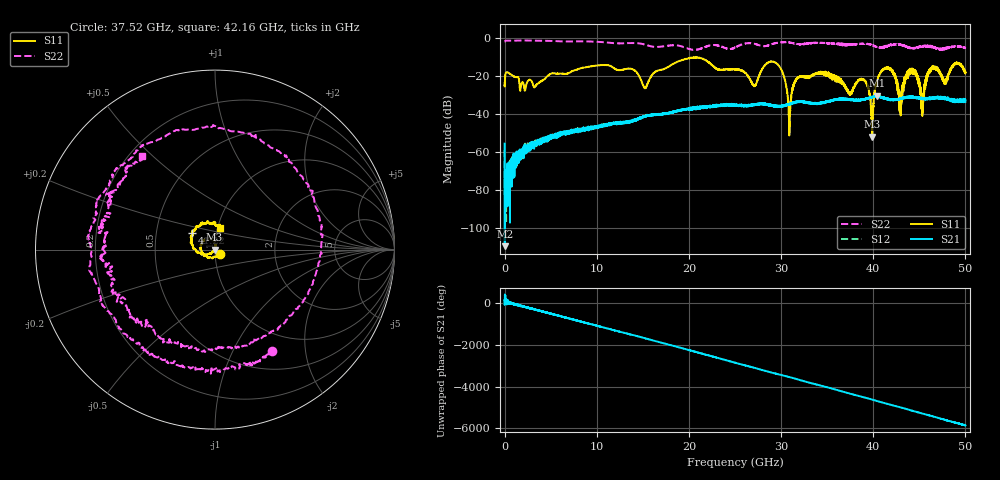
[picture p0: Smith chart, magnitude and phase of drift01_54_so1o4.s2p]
!Created with skrf (http://scikit-rf.org).
# Hz S RI R 50.0
!freq ReS11 ImS11 ReS21 ImS21 ReS12 ImS12 ReS22 ImS22
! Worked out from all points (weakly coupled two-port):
!   10001 points, 300 kHz to 50 GHz, reference 50 ohm
!   highest |S21| = -30.40 dB at 40.39 GHz (marker M1); lowest = -109.6 dB at 20.3 MHz (marker M2)
!   lowest |S11| = -52.0 dB at 39.89 GHz (marker M3), VSWR 1.01, Z = 49.8 - j0.0741 ohm
!   |S11| at or under -10 dB: start of sweep to end of sweep
!   |S22| runs from -6.4 to -1.4 dB; largest |S21 - S12| = 0.0037
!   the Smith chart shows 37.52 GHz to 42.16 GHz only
!   S11 on the Smith chart (normalised r, x): 37.52 GHz: 1.05, -0.05; 41.22 GHz: 0.76, +0.15; 42.16 GHz: 1.03, +0.25
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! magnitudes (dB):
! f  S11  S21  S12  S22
! 300 kHz  -23.8  -55.7  -59.2  -2.1
! 20.3 MHz  -23.8  -109.6  -71.1  -1.9
! 8.335 GHz  -15.9  -48.0  -48.5  -1.8
! 16.67 GHz  -17.1  -40.6  -40.4  -4.8
! 25 GHz  -16.6  -35.4  -35.2  -5.1
! 27.1 GHz  -25.2  -35.0  -35.1  -3.1
! 29.43 GHz  -13.1  -35.8  -36.2  -2.7
! 30.92 GHz  -46.5  -34.7  -34.8  -2.5
! 31.66 GHz  -21.7  -33.7  -33.7  -3.2
! 33.34 GHz  -19.9  -34.3  -34.4  -2.6
! 37.52 GHz  -28.8  -32.4  -32.5  -3.8
! 38.95 GHz  -22.0  -32.3  -32.3  -3.1
! 39.89 GHz  -52.0  -31.0  -31.2  -3.8
! 40.39 GHz  -22.9  -30.4  -30.8  -4.8
! 41.22 GHz  -16.1  -31.8  -31.9  -4.5
! 41.67 GHz  -16.0  -32.3  -32.3  -4.2
! 42.16 GHz  -18.3  -32.8  -32.6  -3.6
! 42.92 GHz  -37.3  -32.2  -32.1  -3.6
! 44.07 GHz  -18.9  -31.1  -31.2  -5.3
! 45.3 GHz  -36.5  -31.8  -31.7  -4.4
! 46.46 GHz  -15.4  -32.0  -31.6  -4.8
! 50 GHz  -18.0  -33.6  -32.8  -5.3
